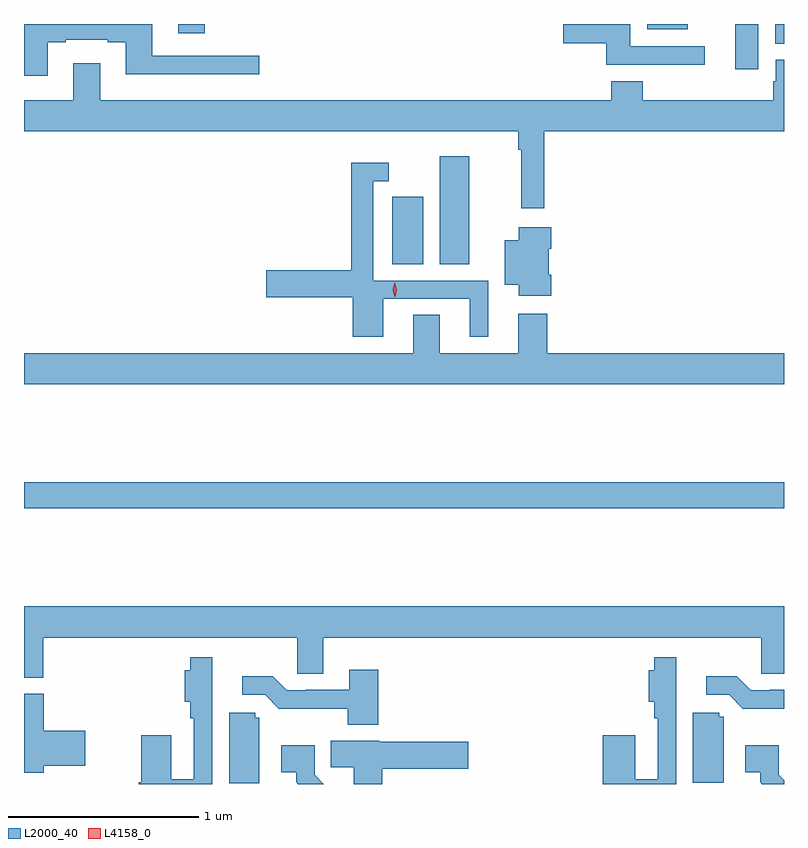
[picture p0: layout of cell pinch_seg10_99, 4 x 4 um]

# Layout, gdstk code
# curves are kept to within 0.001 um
import gdstk
lib = gdstk.Library(unit=1e-6, precision=1e-09)
def R(c, l, rs):  # rectangles x0, y0, x1, y1
    for r in rs: c.add(gdstk.rectangle(r[:2], r[2:], *l))
def P(c, l, *ps):  # polygons
    for p in ps: c.add(gdstk.Polygon(p, *l))
L2000_40 = (2000, 40)
L4158_0 = (4158, 0)

pinch_seg10_99 = lib.new_cell('pinch_seg10_99')
R(pinch_seg10_99, L2000_40, [(711.957,1295.668,715.957,1295.804), (713.894,1296.952,714.058,1297.309), (714.146,1296.952,714.301,1297.522), (715.7,1297.98,715.822,1298.217), (715.91,1298.113,715.957,1298.217), (712.769,1298.169,712.909,1298.217), (715.238,1298.189,715.45,1298.217)])
P(pinch_seg10_99, L2000_40, [(715.54,1298.1),(715.147,1298.1),(715.147,1298.217),(714.794,1298.217),(714.794,1298.117),(715.022,1298.117),(715.022,1298.003),(715.54,1298.003)],
  [(712.081,1298.121),(712.177,1298.121),(712.177,1298.133),(712.397,1298.133),(712.397,1298.121),(712.493,1298.121),(712.493,1297.952),(713.194,1297.952),(713.194,1298.049),(712.633,1298.049),(712.633,1298.217),(711.957,1298.217),(711.957,1297.944),(712.081,1297.944)],
  [(714.695,1297.652),(715.957,1297.652),(715.957,1298.028),(715.913,1298.028),(715.913,1297.917),(715.901,1297.917),(715.901,1297.816),(715.214,1297.816),(715.214,1297.915),(715.049,1297.915),(715.049,1297.816),(712.357,1297.816),(712.357,1298.011),(712.217,1298.011),(712.217,1297.816),(711.957,1297.816),(711.957,1297.652),(714.559,1297.652),(714.559,1297.556),(714.574,1297.556),(714.574,1297.248),(714.695,1297.248)],
  [(713.848,1296.771),(714.302,1296.771),(714.302,1296.57),(714.4,1296.57),(714.4,1296.867),(713.796,1296.867),(713.796,1297.389),(713.878,1297.389),(713.878,1297.486),(713.68,1297.486),(713.68,1296.92),(713.232,1296.92),(713.232,1296.778),(713.687,1296.778),(713.687,1296.57),(713.848,1296.57)],
  [(714.731,1296.898),(714.718,1296.898),(714.718,1297.034),(714.731,1297.034),(714.731,1297.147),(714.56,1297.147),(714.56,1297.078),(714.488,1297.078),(714.488,1296.845),(714.56,1296.845),(714.56,1296.786),(714.731,1296.786)],
  [(715.957,1296.484),(714.71,1296.484),(714.71,1296.691),(714.557,1296.691),(714.557,1296.484),(714.145,1296.484),(714.145,1296.686),(714.005,1296.686),(714.005,1296.484),(711.957,1296.484),(711.957,1296.32),(715.957,1296.32)],
  [(712.058,1294.988),(713.394,1294.988),(713.394,1294.798),(713.533,1294.798),(713.533,1294.988),(715.836,1294.988),(715.836,1294.798),(715.957,1294.798),(715.957,1295.152),(711.957,1295.152),(711.957,1294.777),(712.058,1294.777)],
  [(715.389,1294.662),(715.39,1294.662),(715.39,1294.885),(715.273,1294.885),(715.273,1294.816),(715.244,1294.816),(715.244,1294.651),(715.273,1294.651),(715.273,1294.562),(715.293,1294.562),(715.293,1294.243),(715.174,1294.243),(715.174,1294.474),(715.004,1294.474),(715.004,1294.217),(715.389,1294.217)],
  [(712.947,1294.662),(712.948,1294.662),(712.948,1294.885),(712.831,1294.885),(712.831,1294.816),(712.802,1294.816),(712.802,1294.651),(712.831,1294.651),(712.831,1294.562),(712.851,1294.562),(712.851,1294.243),(712.732,1294.243),(712.732,1294.474),(712.574,1294.474),(712.574,1294.225),(712.562,1294.225),(712.562,1294.217),(712.947,1294.217)],
  [(713.822,1294.819),(713.669,1294.819),(713.669,1294.713),(713.44,1294.713),(713.44,1294.71),(713.34,1294.71),(713.267,1294.783),(713.106,1294.783),(713.106,1294.686),(713.226,1294.686),(713.299,1294.613),(713.662,1294.614),(713.662,1294.529),(713.822,1294.529)],
  [(715.84,1294.614),(715.957,1294.614),(715.957,1294.713),(715.882,1294.713),(715.882,1294.71),(715.782,1294.71),(715.709,1294.783),(715.548,1294.783),(715.548,1294.686),(715.668,1294.686),(715.741,1294.613),(715.84,1294.613)],
  [(712.061,1294.313),(712.279,1294.313),(712.279,1294.496),(712.061,1294.496),(712.061,1294.692),(711.957,1294.692),(711.957,1294.276),(712.061,1294.276)],
  [(713.194,1294.566),(713.175,1294.566),(713.175,1294.593),(713.036,1294.593),(713.036,1294.222),(713.194,1294.222)],
  [(715.639,1294.572),(715.617,1294.572),(715.617,1294.593),(715.478,1294.593),(715.478,1294.224),(715.639,1294.224)],
  [(713.843,1294.297),(714.295,1294.297),(714.295,1294.439),(713.826,1294.439),(713.826,1294.444),(713.572,1294.444),(713.572,1294.306),(713.693,1294.306),(713.693,1294.217),(713.843,1294.217)],
  [(713.487,1294.265),(713.487,1294.42),(713.31,1294.42),(713.31,1294.28),(713.39,1294.28),(713.39,1294.225),(713.398,1294.217),(713.535,1294.217)],
  [(715.957,1294.237),(715.929,1294.265),(715.929,1294.42),(715.752,1294.42),(715.752,1294.28),(715.832,1294.28),(715.832,1294.225),(715.84,1294.217),(715.957,1294.217)])
P(pinch_seg10_99, L4158_0, [(713.909,1296.782),(713.898,1296.818),(713.907,1296.854),(713.907,1296.855),(713.907,1296.854),(713.918,1296.819),(713.91,1296.782),(713.91,1296.782)])

lib.write_gds('pinch_seg10_99.gds')
